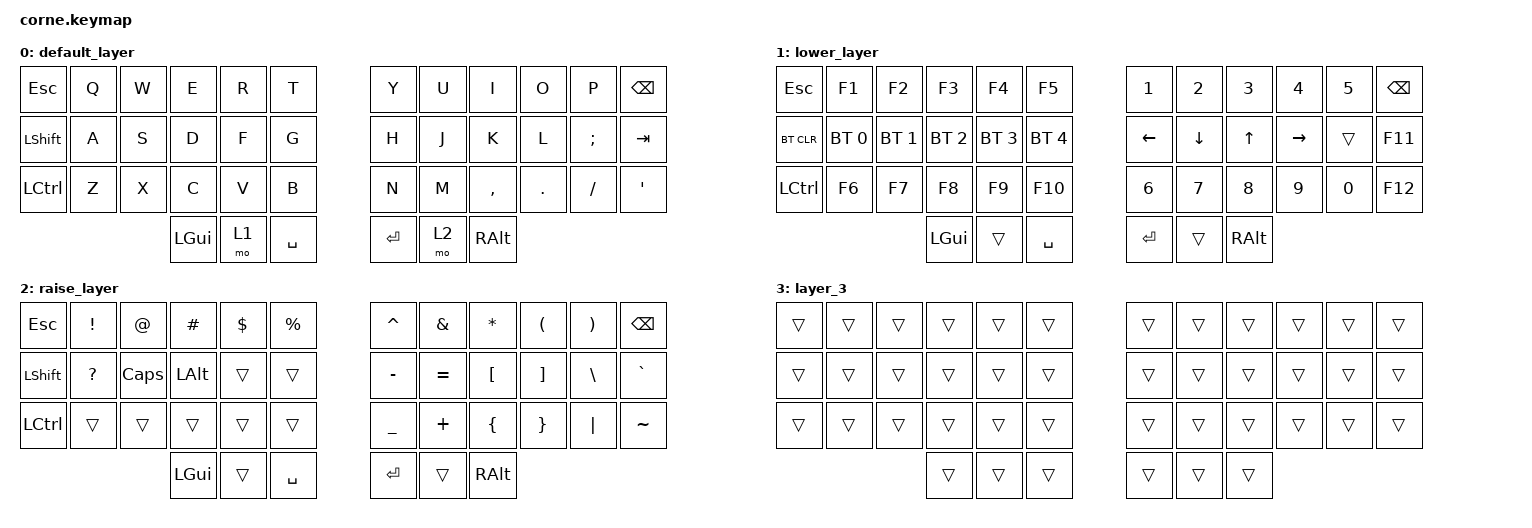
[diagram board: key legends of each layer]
/*
 * Copyright (c) 2020 The ZMK Contributors
 *
 * SPDX-License-Identifier: MIT
 */

#include <behaviors.dtsi>
#include <dt-bindings/zmk/bt.h>
#include <dt-bindings/zmk/keys.h>

/ {
    keymap {
        compatible = "zmk,keymap";

        default_layer {
            // -----------------------------------------------------------------------------------------
            // |  TAB |  Q  |  W  |  E  |  R  |  T  |   |  Y  |  U   |  I  |  O  |  P  | BKSP |
            // | CTRL |  A  |  S  |  D  |  F  |  G  |   |  H  |  J   |  K  |  L  |  ;  |  '   |
            // | SHFT |  Z  |  X  |  C  |  V  |  B  |   |  N  |  M   |  ,  |  .  |  /  | ESC  |
            //                    | GUI | LWR | SPC |   | ENT | RSE  | ALT |

            bindings = <
&kp ESC     &kp Q  &kp W  &kp E     &kp R  &kp T        &kp Y    &kp U  &kp I      &kp O    &kp P     &kp BSPC
&kp LSHIFT  &kp A  &kp S  &kp D     &kp F  &kp G        &kp H    &kp J  &kp K      &kp L    &kp SEMI  &kp TAB
&kp LCTRL   &kp Z  &kp X  &kp C     &kp V  &kp B        &kp N    &kp M  &kp COMMA  &kp DOT  &kp FSLH  &kp SQT
                          &kp LGUI  &mo 1  &kp SPACE    &kp RET  &mo 2  &kp RALT
            >;
        };

        lower_layer {
            // -----------------------------------------------------------------------------------------
            // |  TAB |  1  |  2  |  3  |  4  |  5  |   |  6  |  7  |  8  |  9  |  0  | BKSP |
            // | BTCLR| BT1 | BT2 | BT3 | BT4 | BT5 |   | LFT | DWN |  UP | RGT |     |      |
            // | SHFT |     |     |     |     |     |   |     |     |     |     |     |      |
            //                    | GUI |     | SPC |   | ENT |     | ALT |

            bindings = <
&kp ESC     &kp F1        &kp F2        &kp F3        &kp F4        &kp F5          &kp N1    &kp N2    &kp N3    &kp N4     &kp N5  &kp BSPC
&bt BT_CLR  &bt BT_SEL 0  &bt BT_SEL 1  &bt BT_SEL 2  &bt BT_SEL 3  &bt BT_SEL 4    &kp LEFT  &kp DOWN  &kp UP    &kp RIGHT  &trans  &kp F11
&kp LCTRL   &kp F6        &kp F7        &kp F8        &kp F9        &kp F10         &kp N6    &kp N7    &kp N8    &kp N9     &kp N0  &kp F12
                                        &kp LGUI      &trans        &kp SPACE       &kp RET   &trans    &kp RALT
            >;
        };

        raise_layer {
            // -----------------------------------------------------------------------------------------
            // |  TAB |  !  |  @  |  #  |  $  |  %  |   |  ^  |  &  |  *  |  (  |  )  | BKSP |
            // | CTRL |     |     |     |     |     |   |  -  |  =  |  [  |  ]  |  \  |  `   |
            // | SHFT |     |     |     |     |     |   |  _  |  +  |  {  |  }  | "|" |  ~   |
            //                    | GUI |     | SPC |   | ENT |     | ALT |

            bindings = <
&kp ESC     &kp EXCL   &kp AT    &kp HASH  &kp DLLR  &kp PRCNT    &kp CARET  &kp AMPS   &kp ASTRK  &kp LPAR  &kp RPAR  &kp BSPC
&kp LSHIFT  &kp QMARK  &kp CLCK  &kp LALT  &trans    &trans       &kp MINUS  &kp EQUAL  &kp LBKT   &kp RBKT  &kp BSLH  &kp GRAVE
&kp LCTRL   &trans     &trans    &trans    &trans    &trans       &kp UNDER  &kp PLUS   &kp LBRC   &kp RBRC  &kp PIPE  &kp TILDE
                                 &kp LGUI  &trans    &kp SPACE    &kp RET    &trans     &kp RALT
            >;
        };

        layer_3 {
            bindings = <
&trans  &trans  &trans  &trans  &trans  &trans    &trans  &trans  &trans  &trans  &trans  &trans
&trans  &trans  &trans  &trans  &trans  &trans    &trans  &trans  &trans  &trans  &trans  &trans
&trans  &trans  &trans  &trans  &trans  &trans    &trans  &trans  &trans  &trans  &trans  &trans
                        &trans  &trans  &trans    &trans  &trans  &trans
            >;
        };
    };
};
